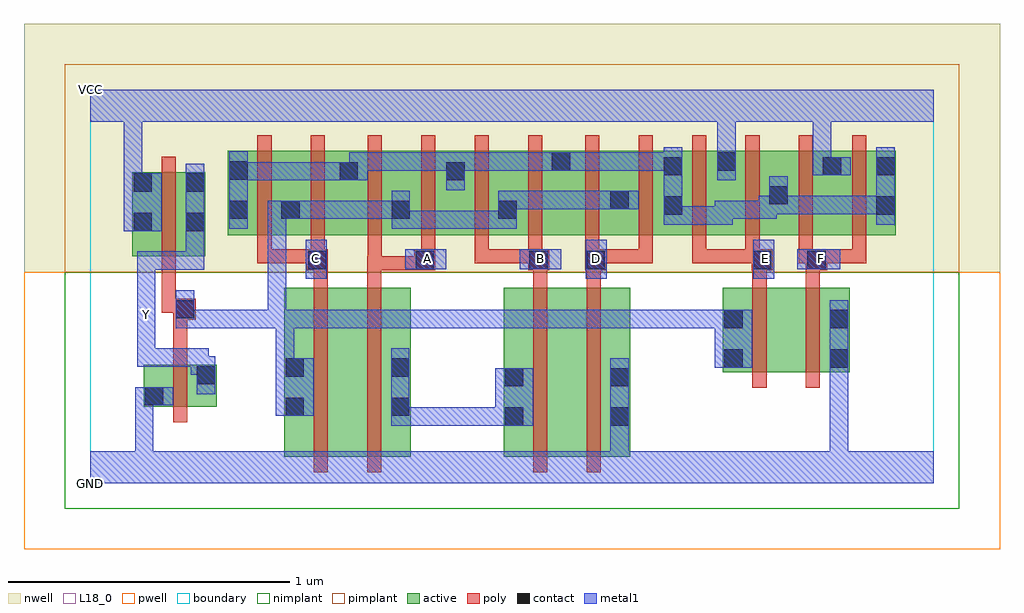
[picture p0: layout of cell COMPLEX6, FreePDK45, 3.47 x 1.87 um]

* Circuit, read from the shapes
.subckt COMPLEX6 A B C D E F GND VCC Y
M1 Y n1 GND VSUBS nfet w=0.15u l=0.05u
M2 n2 C n1 VSUBS nfet w=0.6u l=0.05u
M3 n3 A n2 VSUBS nfet w=0.6u l=0.05u
M4 n4 B n3 VSUBS nfet w=0.6u l=0.05u
M5 GND D n4 VSUBS nfet w=0.6u l=0.05u
M6 n5 E n1 VSUBS nfet w=0.3u l=0.05u
M7 GND F n5 VSUBS nfet w=0.3u l=0.05u
M8 Y n1 VCC n6 pfet w=0.3u l=0.05u
M9 n1 C n7 n6 pfet w=0.3u l=0.05u m=2
M10 n1 A n7 n6 pfet w=0.3u l=0.05u m=2
M11 n1 B n7 n6 pfet w=0.3u l=0.05u m=2
M12 n1 D n7 n6 pfet w=0.3u l=0.05u m=2
M13 VCC E n7 n6 pfet w=0.3u l=0.05u m=2
M14 VCC F n7 n6 pfet w=0.3u l=0.05u m=2
.ends

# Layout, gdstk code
import gdstk
lib = gdstk.Library(unit=1e-6, precision=1e-09)
def R(c, l, rs):  # rectangles x0, y0, x1, y1
    for r in rs: c.add(gdstk.rectangle(r[:2], r[2:], *l))
def A(c, l, x, y, w, h, nx, ny, dx, dy):  # array of equal rectangles
    R(c, l, [(x+i*dx, y+j*dy, x+i*dx+w, y+j*dy+h) for i in range(nx) for j in range(ny)])
active = (1, 0)
pwell = (2, 0)
nwell = (3, 0)
nimplant = (4, 0)
pimplant = (5, 0)
poly = (9, 0)
contact = (10, 0)
metal1 = (11, 0)
L18_0 = (18, 0)
boundary = (235, 0)

complex6 = lib.new_cell('COMPLEX6')
R(complex6, active, [(0.69,0.095,0.915,0.695), (0.69,0.095,0.795,0.695), (0.915,0.095,1.14,0.695), (1.065,0.095,1.14,0.577), (1.47,0.095,1.695,0.695), (1.47,0.095,1.575,0.577), (1.695,0.095,1.92,0.695), (1.845,0.095,1.92,0.577), (0.19,0.272,0.265,0.422), (0.19,0.272,0.45,0.422), (0.375,0.272,0.45,0.422), (2.25,0.395,2.325,0.695), (2.25,0.395,2.475,0.695), (2.475,0.395,2.7,0.695), (2.625,0.395,2.7,0.695), (0.15,0.807,0.225,1.107), (0.15,0.807,0.41,1.107), (0.335,0.807,0.41,1.107), (0.49,0.882,0.75,1.182), (0.49,0.882,0.565,1.165), (0.675,0.882,0.957,1.182), (0.882,0.882,1.142,1.182), (1.067,0.882,1.337,1.182), (1.262,0.882,1.522,1.182), (1.447,0.882,1.712,1.182), (1.637,0.882,1.92,1.182), (1.845,0.882,2.11,1.182), (2.035,0.882,2.3,1.182), (2.225,0.882,2.485,1.182), (2.41,0.882,2.675,1.182), (2.6,0.882,2.865,1.182), (2.79,0.882,2.865,1.17), (2.41,0.922,2.485,1.105), (0.675,0.935,0.75,1.07), (1.067,0.935,1.142,1.07), (1.447,0.935,1.522,1.07), (2.035,0.95,2.11,1.165), (1.845,0.97,1.92,1.07), (0.882,0.995,0.957,1.147), (1.262,0.995,1.337,1.147), (1.637,0.995,1.712,1.182), (2.225,1.007,2.3,1.182), (2.6,1.007,2.675,1.165)])
R(complex6, pwell, [(-0.235,-0.235,3.235,0.75)])
R(complex6, nwell, [(-0.235,0.75,3.235,1.635)])
R(complex6, nimplant, [(-0.09,-0.09,3.09,0.75)])
R(complex6, pimplant, [(-0.09,0.75,3.09,1.49)])
A(complex6, poly, 1.177, 0.782, 0.05, 0.095, 3, 1, 0.19, 0)
A(complex6, poly, 1.76, 0.782, 0.05, 0.095, 6, 1, 0.19, 0)
A(complex6, poly, 0.987, 0.827, 0.05, 0.41, 4, 1, 0.19, 0)
A(complex6, poly, 1.76, 0.827, 0.05, 0.41, 6, 1, 0.19, 0)
R(complex6, poly, [(0.795,0.04,0.845,0.75), (0.985,0.04,1.035,0.75), (1.575,0.04,1.625,0.75), (1.765,0.04,1.815,0.75), (0.295,0.217,0.345,0.477), (2.355,0.34,2.405,0.75), (2.545,0.34,2.595,0.75), (0.295,0.427,0.345,0.632), (0.295,0.582,0.375,0.657), (0.255,0.607,0.305,0.802), (0.255,0.607,0.345,0.657), (0.295,0.607,0.345,0.657), (0.795,0.7,0.845,0.807), (0.985,0.7,1.035,0.807), (1.575,0.7,1.625,0.807), (1.765,0.7,1.815,0.807), (2.355,0.7,2.405,0.807), (2.545,0.7,2.595,0.807), (0.255,0.752,0.305,1.162), (0.77,0.757,0.845,0.832), (0.795,0.757,0.845,0.807), (0.795,0.757,0.845,0.807), (0.985,0.757,1.037,0.807), (0.987,0.757,1.202,0.807), (0.987,0.757,1.037,0.807), (0.987,0.757,1.037,0.807), (0.987,0.757,1.037,0.807), (0.987,0.757,1.037,0.807), (0.987,0.757,1.037,0.877), (1.152,0.757,1.227,0.832), (1.557,0.757,1.632,0.832), (1.575,0.757,1.625,0.807), (1.575,0.757,1.625,0.807), (1.76,0.757,1.835,0.832), (1.765,0.757,1.815,0.807), (1.765,0.757,1.815,0.807), (2.352,0.757,2.427,0.832), (2.545,0.757,2.62,0.832), (0.595,0.782,0.645,0.877), (0.595,0.782,0.645,0.832), (0.595,0.782,0.82,0.832), (0.77,0.782,0.82,0.832), (0.77,0.782,0.82,0.832), (0.785,0.782,0.835,0.877), (1.367,0.782,1.417,0.832), (1.367,0.782,1.607,0.832), (1.557,0.782,1.607,0.832), (1.557,0.782,1.607,0.832), (1.785,0.782,2,0.832), (1.785,0.782,1.835,0.832), (1.785,0.782,1.835,0.832), (1.95,0.782,2,0.832), (2.14,0.782,2.19,0.832), (2.14,0.782,2.19,0.832), (2.14,0.782,2.19,0.832), (2.14,0.782,2.38,0.832), (2.33,0.782,2.402,0.832), (2.352,0.782,2.402,0.832), (2.52,0.782,2.595,0.832), (2.545,0.782,2.76,0.832), (2.545,0.782,2.595,0.832), (2.545,0.782,2.595,0.832), (2.545,0.782,2.595,0.832), (2.71,0.782,2.76,0.832), (0.595,0.827,0.645,1.237), (0.785,0.827,0.835,1.237)])
R(complex6, contact, [(1.475,0.205,1.54,0.27), (1.85,0.205,1.915,0.27), (0.695,0.24,0.76,0.305), (1.07,0.24,1.135,0.305), (0.195,0.277,0.26,0.342), (1.475,0.345,1.54,0.41), (1.85,0.345,1.915,0.41), (0.38,0.352,0.445,0.417), (0.695,0.38,0.76,0.445), (1.07,0.38,1.135,0.445), (2.255,0.412,2.32,0.477), (2.63,0.412,2.695,0.477), (2.255,0.552,2.32,0.617), (2.63,0.552,2.695,0.617), (0.305,0.587,0.37,0.652), (0.775,0.762,0.84,0.827), (1.157,0.762,1.222,0.827), (1.562,0.762,1.627,0.827), (1.765,0.762,1.83,0.827), (2.357,0.762,2.422,0.827), (2.55,0.762,2.615,0.827), (0.155,0.897,0.22,0.962), (0.34,0.897,0.405,0.962), (0.495,0.94,0.56,1.005), (0.68,0.94,0.745,1.005), (1.072,0.94,1.137,1.005), (1.452,0.94,1.517,1.005), (2.04,0.955,2.105,1.02), (2.795,0.955,2.86,1.02), (1.85,0.975,1.915,1.04), (2.415,0.992,2.48,1.057), (0.155,1.037,0.22,1.102), (0.34,1.037,0.405,1.102), (0.887,1.077,0.952,1.142), (1.267,1.077,1.332,1.142), (0.495,1.08,0.56,1.145), (2.04,1.095,2.105,1.16), (2.605,1.095,2.67,1.16), (2.795,1.095,2.86,1.16), (1.642,1.112,1.707,1.177), (2.23,1.112,2.295,1.177)])
R(complex6, metal1, [(0,0,3,0.115), (0.16,0.05,0.225,0.115), (0.16,0.05,0.225,0.115), (0.16,0.05,0.225,0.115), (0.16,0.05,0.225,0.115), (0.16,0.05,0.225,0.342), (1.85,0.05,1.915,0.235), (2.63,0.05,2.695,0.115), (2.63,0.05,2.695,0.115), (2.63,0.05,2.695,0.442), (1.85,0.17,1.915,0.445), (1.07,0.205,1.135,0.27), (1.07,0.205,1.135,0.27), (1.07,0.205,1.135,0.48), (1.07,0.205,1.275,0.27), (1.21,0.205,1.275,0.27), (1.21,0.205,1.275,0.27), (1.21,0.205,1.275,0.27), (1.21,0.205,1.505,0.27), (1.44,0.205,1.575,0.41), (0.66,0.24,0.795,0.445), (0.16,0.277,0.295,0.342), (0.38,0.317,0.445,0.452), (2.63,0.377,2.695,0.652), (0.66,0.38,0.725,0.617), (0.357,0.387,0.445,0.452), (0.357,0.387,0.422,0.48), (2.22,0.412,2.355,0.617), (0.167,0.415,0.232,0.48), (0.167,0.415,0.422,0.48), (0.167,0.415,0.232,0.597), (0.167,0.532,0.232,0.667), (0.305,0.552,0.37,0.617), (0.305,0.552,0.37,0.617), (0.305,0.552,0.37,0.687), (0.305,0.552,0.56,0.617), (0.495,0.552,0.56,0.617), (0.495,0.552,0.56,0.617), (0.495,0.552,0.56,0.617), (0.495,0.552,0.697,0.617), (0.632,0.552,0.697,1.005), (0.632,0.552,0.725,0.617), (0.66,0.552,0.725,0.617), (0.66,0.552,0.725,0.617), (0.66,0.552,0.932,0.617), (0.867,0.552,0.932,0.617), (0.867,0.552,0.932,0.617), (0.867,0.552,0.932,0.617), (0.867,0.552,1.137,0.617), (1.072,0.552,1.137,0.617), (1.072,0.552,1.137,0.617), (1.072,0.552,1.137,0.617), (1.072,0.552,1.367,0.617), (1.302,0.552,1.367,0.617), (1.302,0.552,1.367,0.617), (1.302,0.552,1.367,0.617), (1.302,0.552,1.505,0.617), (1.44,0.552,1.505,0.617), (1.44,0.552,1.505,0.617), (1.44,0.552,1.505,0.617), (1.44,0.552,1.742,0.617), (1.677,0.552,1.742,0.617), (1.677,0.552,1.742,0.617), (1.677,0.552,1.742,0.617), (1.677,0.552,1.88,0.617), (1.815,0.552,1.88,0.617), (1.815,0.552,2.105,0.617), (2.04,0.552,2.105,0.617), (2.04,0.552,2.105,0.617), (2.04,0.552,2.105,0.617), (2.04,0.552,2.285,0.617), (2.22,0.552,2.285,0.617), (2.22,0.552,2.285,0.617), (2.22,0.552,2.285,0.617), (2.22,0.552,2.285,0.617), (0.167,0.602,0.232,0.825), (0.767,0.727,0.842,0.867), (1.762,0.727,1.837,0.867), (2.357,0.727,2.432,0.867), (0.167,0.76,0.232,0.825), (0.167,0.76,0.232,0.825), (0.167,0.76,0.232,0.825), (0.167,0.76,0.405,0.825), (0.34,0.76,0.405,0.825), (0.34,0.76,0.405,0.927), (1.12,0.762,1.267,0.832), (1.527,0.762,1.675,0.832), (2.515,0.762,2.667,0.832), (0.34,0.862,0.405,1.137), (0.12,0.897,0.255,1.102), (0.495,0.905,0.56,1.18), (1.072,0.905,1.137,0.97), (1.072,0.905,1.137,0.97), (1.072,0.905,1.137,1.04), (1.072,0.905,1.367,0.97), (1.302,0.905,1.367,0.97), (1.302,0.905,1.367,0.97), (1.302,0.905,1.367,0.97), (1.302,0.905,1.517,0.97), (1.452,0.905,1.517,1.04), (2.04,0.92,2.105,0.985), (2.04,0.92,2.105,0.985), (2.04,0.92,2.105,1.195), (2.04,0.92,2.285,0.985), (2.22,0.92,2.285,1.005), (2.795,0.92,2.86,1.195), (0.632,0.94,0.697,1.005), (0.632,0.94,0.697,1.005), (0.632,0.94,0.78,1.005), (0.715,0.94,0.78,1.005), (0.715,0.94,0.78,1.005), (0.715,0.94,0.987,1.005), (0.922,0.94,0.987,1.005), (0.922,0.94,0.987,1.005), (0.922,0.94,0.987,1.005), (0.922,0.94,1.137,1.005), (2.22,0.94,2.285,1.005), (2.22,0.94,2.285,1.005), (2.22,0.94,2.442,1.005), (2.377,0.94,2.442,1.022), (2.377,0.957,2.48,1.022), (2.415,0.957,2.722,1.022), (2.415,0.957,2.48,1.092), (2.657,0.957,2.722,1.022), (2.657,0.957,2.722,1.022), (2.657,0.957,2.722,1.022), (2.657,0.957,2.86,1.022), (2.795,0.957,2.86,1.022), (2.795,0.957,2.86,1.022), (1.452,0.975,1.517,1.04), (1.452,0.975,1.517,1.04), (1.452,0.975,1.742,1.04), (1.677,0.975,1.742,1.04), (1.677,0.975,1.88,1.04), (1.815,0.975,1.88,1.04), (1.815,0.975,1.88,1.04), (1.815,0.975,1.95,1.04), (0.12,1.037,0.185,1.102), (0.12,1.037,0.185,1.102), (0.12,1.037,0.185,1.35), (1.267,1.042,1.332,1.177), (0.495,1.077,0.56,1.142), (0.495,1.077,0.56,1.142), (0.495,1.077,0.697,1.142), (0.632,1.077,0.697,1.142), (0.632,1.077,0.697,1.142), (0.632,1.077,0.697,1.142), (0.632,1.077,0.917,1.142), (0.852,1.077,0.987,1.142), (0.922,1.077,0.987,1.142), (0.922,1.077,0.987,1.177), (2.23,1.077,2.295,1.212), (2.57,1.095,2.635,1.16), (2.57,1.095,2.635,1.16), (2.57,1.095,2.635,1.35), (2.57,1.095,2.705,1.16), (0.922,1.112,1.125,1.177), (1.06,1.112,1.125,1.177), (1.06,1.112,1.125,1.177), (1.06,1.112,1.125,1.177), (1.06,1.112,1.332,1.177), (1.267,1.112,1.332,1.177), (1.267,1.112,1.332,1.177), (1.267,1.112,1.535,1.177), (1.47,1.112,1.535,1.177), (1.47,1.112,1.535,1.177), (1.47,1.112,1.535,1.177), (1.47,1.112,1.672,1.177), (1.607,1.112,1.742,1.177), (1.677,1.112,1.967,1.177), (1.902,1.112,1.967,1.177), (1.902,1.112,1.967,1.177), (1.902,1.112,1.967,1.177), (1.902,1.112,2.105,1.177), (2.04,1.112,2.105,1.177), (2.04,1.112,2.105,1.177), (2.23,1.147,2.295,1.35), (0,1.285,3,1.4), (2.23,1.285,2.295,1.35), (2.23,1.285,2.295,1.35)])
A(complex6, L18_0, 0.767, 0.767, 0.065, 0.065, 3, 1, 0.4, 0)
R(complex6, L18_0, [(0,0,3,0.115), (0.16,0.05,0.225,0.115), (0.16,0.05,0.225,0.115), (0.16,0.05,0.225,0.115), (0.16,0.05,0.225,0.115), (0.16,0.05,0.225,0.342), (1.85,0.05,1.915,0.235), (2.63,0.05,2.695,0.115), (2.63,0.05,2.695,0.115), (2.63,0.05,2.695,0.442), (1.85,0.17,1.915,0.445), (0.16,0.277,0.295,0.342), (0.38,0.317,0.445,0.452), (2.63,0.377,2.695,0.652), (0.357,0.387,0.422,0.48), (0.357,0.387,0.445,0.452), (0.167,0.415,0.232,0.48), (0.167,0.415,0.232,0.597), (0.167,0.415,0.422,0.48), (0.167,0.532,0.232,0.667), (0.167,0.567,0.232,0.632), (0.167,0.602,0.232,0.825), (0.767,0.727,0.842,0.867), (1.762,0.727,1.837,0.867), (2.357,0.727,2.432,0.867), (0.167,0.76,0.232,0.825), (0.167,0.76,0.232,0.825), (0.167,0.76,0.232,0.825), (0.167,0.76,0.405,0.825), (0.34,0.76,0.405,0.825), (0.34,0.76,0.405,0.927), (1.12,0.762,1.267,0.832), (1.527,0.762,1.675,0.832), (2.515,0.762,2.667,0.832), (1.767,0.767,1.832,0.832), (2.367,0.767,2.432,0.832), (2.567,0.767,2.632,0.832), (0.34,0.862,0.405,1.137), (0.12,0.897,0.255,1.102), (0.12,1.037,0.185,1.102), (0.12,1.037,0.185,1.102), (0.12,1.037,0.185,1.35), (2.23,1.077,2.295,1.212), (2.57,1.095,2.635,1.16), (2.57,1.095,2.635,1.16), (2.57,1.095,2.705,1.16), (2.57,1.095,2.635,1.35), (2.23,1.147,2.295,1.35), (0,1.285,3,1.4), (2.23,1.285,2.295,1.35), (2.23,1.285,2.295,1.35)])
R(complex6, boundary, [(0,0,3,1.4)])
complex6.add(gdstk.Label('A', (1.2,0.8), layer=11, texttype=0))
complex6.add(gdstk.Label('B', (1.6,0.8), layer=11, texttype=0))
complex6.add(gdstk.Label('C', (0.8,0.8), layer=11, texttype=0))
complex6.add(gdstk.Label('D', (1.8,0.8), layer=11, texttype=0))
complex6.add(gdstk.Label('E', (2.4,0.8), layer=11, texttype=0))
complex6.add(gdstk.Label('F', (2.6,0.8), layer=11, texttype=0))
complex6.add(gdstk.Label('Y', (0.2,0.6), layer=11, texttype=0))
complex6.add(gdstk.Label('VCC', (0,1.4), layer=11, texttype=0))
complex6.add(gdstk.Label('GND', (0,0), layer=11, texttype=0))

lib.write_gds('COMPLEX6.gds')
